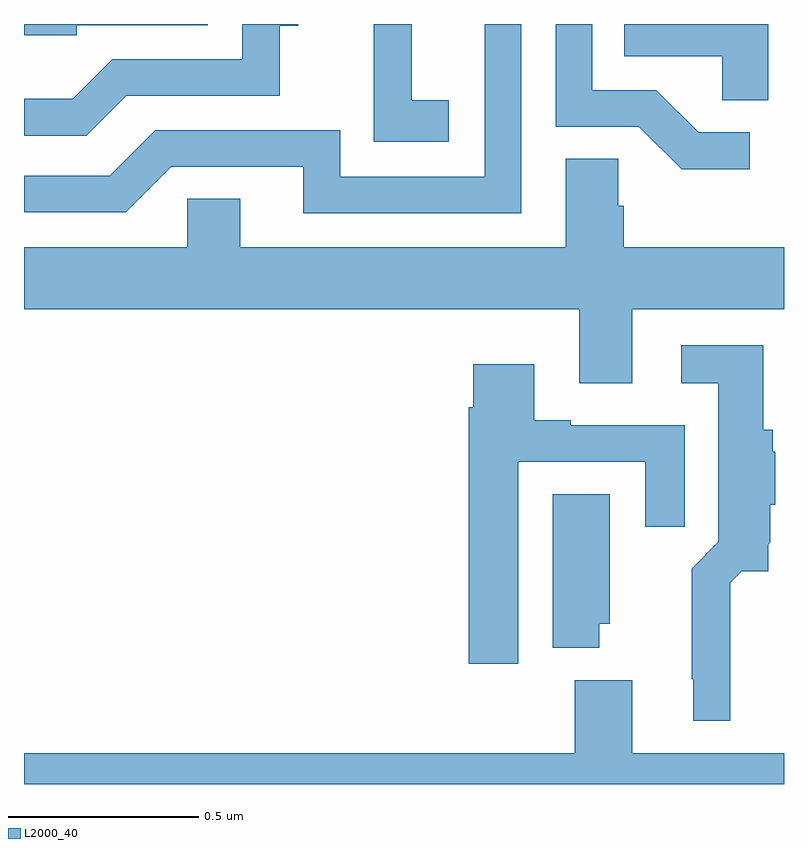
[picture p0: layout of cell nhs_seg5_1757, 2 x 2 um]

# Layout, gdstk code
import gdstk
lib = gdstk.Library(unit=1e-6, precision=1e-09)
def P(c, l, *ps):  # polygons
    for p in ps: c.add(gdstk.Polygon(p, *l))
L2000_40 = (2000, 40)

nhs_seg5_1757 = lib.new_cell('nhs_seg5_1757')
P(nhs_seg5_1757, L2000_40, [(135.309,902.799),(135.213,902.799),(135.213,902.397),(134.832,902.397),(134.832,902.52),(134.346,902.52),(134.226,902.4),(134,902.4),(134,902.304),(134.268,902.304),(134.388,902.424),(134.735,902.424),(134.735,902.301),(135.309,902.301)],
  [(134.269,902.61),(134.673,902.61),(134.673,902.795),(134.722,902.795),(134.722,902.799),(134.574,902.799),(134.574,902.706),(134.232,902.706),(134.128,902.602),(134,902.602),(134,902.505),(134.164,902.505)],
  [(135.958,902.799),(135.58,902.799),(135.58,902.714),(135.837,902.714),(135.837,902.599),(135.958,902.599)],
  [(134.139,902.796),(134.484,902.796),(134.484,902.799),(134,902.799),(134,902.769),(134.139,902.769)],
  [(135.118,902.599),(135.02,902.599),(135.02,902.799),(134.921,902.799),(134.921,902.695),(134.92,902.695),(134.92,902.489),(135.118,902.489)],
  [(135.91,902.514),(135.775,902.514),(135.664,902.625),(135.495,902.625),(135.495,902.799),(135.399,902.799),(135.399,902.529),(135.618,902.529),(135.731,902.417),(135.91,902.417)],
  [(135.601,902.048),(136,902.048),(136,902.212),(135.578,902.212),(135.578,902.321),(135.564,902.321),(135.564,902.444),(135.425,902.444),(135.425,902.212),(134.569,902.212),(134.569,902.339),(134.43,902.339),(134.43,902.212),(134,902.212),(134,902.048),(135.461,902.048),(135.461,901.854),(135.601,901.854)],
  [(135.859,901.328),(135.889,901.359),(135.958,901.359),(135.958,901.429),(135.964,901.435),(135.964,901.534),(135.977,901.534),(135.977,901.674),(135.971,901.674),(135.971,901.731),(135.946,901.731),(135.946,901.954),(135.729,901.954),(135.729,901.853),(135.827,901.853),(135.827,901.436),(135.757,901.366),(135.757,901.075),(135.761,901.075),(135.761,900.965),(135.859,900.965)],
  [(135.301,901.647),(135.635,901.647),(135.635,901.476),(135.739,901.476),(135.739,901.743),(135.439,901.743),(135.439,901.756),(135.343,901.756),(135.343,901.903),(135.182,901.903),(135.182,901.79),(135.17,901.79),(135.17,901.116),(135.301,901.116)],
  [(135.514,901.221),(135.541,901.221),(135.541,901.562),(135.392,901.562),(135.392,901.157),(135.514,901.157)],
  [(136,900.88),(135.601,900.88),(135.601,901.072),(135.449,901.072),(135.449,900.88),(134,900.88),(134,900.799),(136,900.799)])

lib.write_gds('nhs_seg5_1757.gds')
